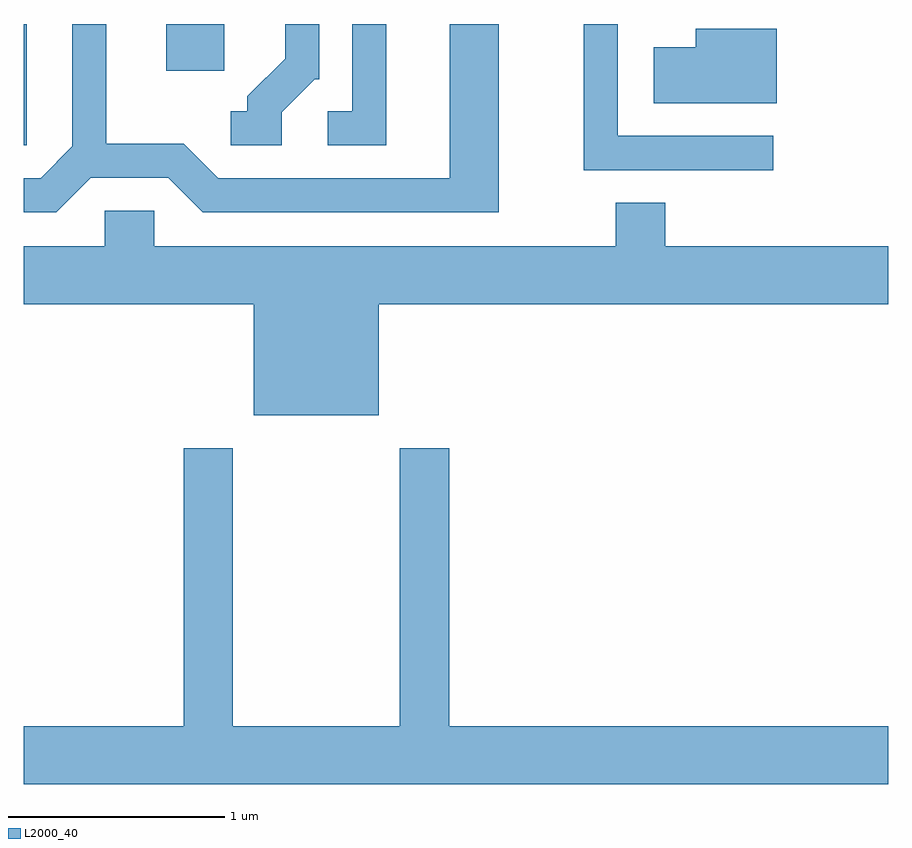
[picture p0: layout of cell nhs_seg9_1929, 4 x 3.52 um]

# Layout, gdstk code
import gdstk
lib = gdstk.Library(unit=1e-6, precision=1e-09)
def R(c, l, rs):  # rectangles x0, y0, x1, y1
    for r in rs: c.add(gdstk.rectangle(r[:2], r[2:], *l))
def P(c, l, *ps):  # polygons
    for p in ps: c.add(gdstk.Polygon(p, *l))
L2000_40 = (2000, 40)

nhs_seg9_1929 = lib.new_cell('nhs_seg9_1929')
R(nhs_seg9_1929, L2000_40, [(241.611,2005.871,241.624,2006.432), (242.271,2006.216,242.539,2006.432)])
P(nhs_seg9_1929, L2000_40, [(241.922,2005.721),(242.279,2005.721),(242.439,2005.561),(243.809,2005.561),(243.809,2006.432),(243.581,2006.432),(243.581,2005.719),(242.512,2005.719),(242.352,2005.879),(241.994,2005.879),(241.994,2006.432),(241.836,2006.432),(241.836,2005.867),(241.689,2005.719),(241.611,2005.719),(241.611,2005.561),(241.762,2005.561)],
  [(243.289,2006.432),(243.131,2006.432),(243.131,2006.029),(243.018,2006.029),(243.018,2005.871),(243.289,2005.871)],
  [(245.078,2005.914),(244.359,2005.914),(244.359,2006.432),(244.201,2006.432),(244.201,2005.756),(245.078,2005.756)],
  [(242.804,2006.024),(242.957,2006.176),(242.979,2006.176),(242.979,2006.432),(242.821,2006.432),(242.821,2006.272),(242.646,2006.097),(242.646,2006.029),(242.568,2006.029),(242.568,2005.871),(242.804,2005.871)],
  [(245.094,2006.409),(244.721,2006.409),(244.721,2006.324),(244.526,2006.324),(244.526,2006.066),(245.094,2006.066)],
  [(243.254,2005.136),(245.611,2005.136),(245.611,2005.404),(244.579,2005.404),(244.579,2005.604),(244.351,2005.604),(244.351,2005.404),(242.214,2005.404),(242.214,2005.569),(241.986,2005.569),(241.986,2005.404),(241.611,2005.404),(241.611,2005.136),(242.676,2005.136),(242.676,2004.621),(243.254,2004.621)],
  [(245.611,2003.184),(243.579,2003.184),(243.579,2004.469),(243.351,2004.469),(243.351,2003.184),(242.579,2003.184),(242.579,2004.469),(242.351,2004.469),(242.351,2003.184),(241.611,2003.184),(241.611,2002.916),(245.611,2002.916)])

lib.write_gds('nhs_seg9_1929.gds')
